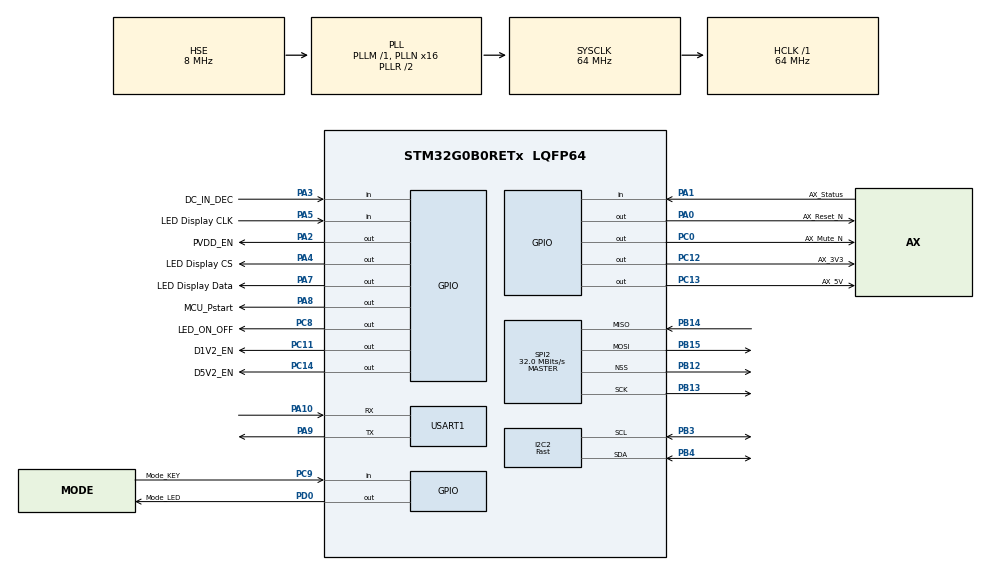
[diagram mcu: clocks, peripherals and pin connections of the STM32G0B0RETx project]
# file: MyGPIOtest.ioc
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I2C2.CustomTiming=Enabled
I2C2.I2C_Speed_Mode=I2C_Fast
I2C2.Timing=0x00503D58
Mcu.Family=STM32G0
Mcu.Name=STM32G0B0RETx
Mcu.Package=LQFP64
PA0.GPIO_Label=AX_Reset_N
PA0.GPIO_ModeDefaultOutputPP=GPIO_MODE_OUTPUT_OD
PA0.GPIO_PuPd=GPIO_NOPULL
PA0.Signal=GPIO_Output
PA1.GPIO_Label=AX_Status
PA1.Signal=GPIO_Input
PA10.Mode=Asynchronous
PA10.Signal=USART1_RX
PA13.Mode=Serial_Wire
PA13.Signal=SYS_SWDIO
PA14-BOOT0.Mode=Serial_Wire
PA14-BOOT0.Signal=SYS_SWCLK
PA2.GPIO_Label=PVDD_EN
PA2.Signal=GPIO_Output
PA3.GPIO_Label=DC_IN_DEC
PA3.Signal=GPIO_Input
PA4.GPIO_Label=LED Display CS
PA4.Signal=GPIO_Output
PA5.GPIO_Label=LED Display CLK
PA5.Signal=GPIO_Input
PA7.GPIO_Label=LED Display Data
PA7.Signal=GPIO_Output
PA8.GPIO_Label=MCU_Pstart
PA8.Signal=GPIO_Output
PA9.Mode=Asynchronous
PA9.Signal=USART1_TX
PB12.Mode=NSS_Signal_Hard_Output
PB12.Signal=SPI2_NSS
PB13.Mode=Full_Duplex_Master
PB13.Signal=SPI2_SCK
PB14.Mode=Full_Duplex_Master
PB14.Signal=SPI2_MISO
PB15.Mode=Full_Duplex_Master
PB15.Signal=SPI2_MOSI
PB3.Mode=I2C
PB3.Signal=I2C2_SCL
PB4.Mode=I2C
PB4.Signal=I2C2_SDA
PC0.GPIO_Label=AX_Mute_N
PC0.Signal=GPIO_Output
PC11.GPIO_Label=D1V2_EN
PC11.Signal=GPIO_Output
PC12.GPIO_Label=AX_3V3
PC12.Signal=GPIO_Output
PC13.GPIO_Label=AX_5V
PC13.Signal=GPIO_Output
PC14-OSC32_IN\ (PC14).GPIO_Label=D5V2_EN
PC14-OSC32_IN\ (PC14).Signal=GPIO_Output
PC8.GPIO_Label=LED_ON_OFF
PC8.Signal=GPIO_Output
PC9.GPIO_Label=Mode_KEY
PC9.Signal=GPIO_Input
PD0.GPIO_Label=Mode_LED
PD0.Signal=GPIO_Output
PF0-OSC_IN\ (PF0).Mode=HSE-External-Oscillator
PF0-OSC_IN\ (PF0).Signal=RCC_OSC_IN
PF1-OSC_OUT\ (PF1).Mode=HSE-External-Oscillator
PF1-OSC_OUT\ (PF1).Signal=RCC_OSC_OUT
ProjectManager.HeapSize=0x200
ProjectManager.StackSize=0x400
ProjectManager.TargetToolchain=STM32CubeIDE
RCC.ADCFreq_Value=64000000
RCC.AHBFreq_Value=64000000
RCC.CortexFreq_Value=64000000
RCC.EXTERNAL_CLOCK_VALUE=48000
RCC.HCLKFreq_Value=64000000
RCC.HSE_VALUE=8000000
RCC.HSI_VALUE=16000000
RCC.LSE_VALUE=32768
RCC.PLLN=16
RCC.PLLSourceVirtual=RCC_PLLSOURCE_HSE
RCC.SYSCLKFreq_VALUE=64000000
RCC.SYSCLKSource=RCC_SYSCLKSOURCE_PLLCLK
RCC.USBFreq_Value=64000000
RCC.VCOOutputFreq_Value=128000000
SPI2.CalculateBaudRate=32.0 MBits/s
SPI2.Direction=SPI_DIRECTION_2LINES
SPI2.Mode=SPI_MODE_MASTER
SPI2.VirtualNSS=VM_NSSHARD
SPI2.VirtualType=VM_MASTER
USART1.VirtualMode-Asynchronous=VM_ASYNC
VP_SYS_VS_DBSignals.Mode=DisableDeadBatterySignals
board=custom

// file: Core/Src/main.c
/* USER CODE BEGIN Header */
/**
  ******************************************************************************
  * @file           : main.c
  * @brief          : Main program body for AX5689 Control.
  ******************************************************************************
  */
/* USER CODE END Header */
#include "main.h"

/* USER CODE BEGIN Includes */
#include <stdio.h>
#include "ax5689_control.h"
/* USER CODE END Includes */

I2C_HandleTypeDef hi2c2;

SPI_HandleTypeDef hspi2;

UART_HandleTypeDef huart1;

/* USER CODE BEGIN PV */
volatile HAL_StatusTypeDef i2c_status = HAL_OK;
/* USER CODE END PV */

void SystemClock_Config(void);
static void MX_GPIO_Init(void);
static void MX_I2C2_Init(void);
static void MX_SPI2_Init(void);
static void MX_USART1_UART_Init(void);
/* USER CODE BEGIN PFP */
#ifdef __GNUC__
  #define PUTCHAR_PROTOTYPE int __io_putchar(int ch)
#else
  #define PUTCHAR_PROTOTYPE int fputc(int ch, FILE *f)
#endif /* __GNUC__ */
/* USER CODE END PFP */

int main(void)
{

  /* MCU Configuration--------------------------------------------------------*/

  /* Reset of all peripherals, Initializes the Flash interface and the Systick. */
  HAL_Init();

  /* Configure the system clock */
  SystemClock_Config();

  /* Initialize all configured peripherals */
  MX_GPIO_Init();
  MX_I2C2_Init();
  MX_SPI2_Init();
  MX_USART1_UART_Init();
  IO_Init();
  AX5689_Setup();
  // 启动控制循环
  StartControlLoop();
  while (1)
  {
    checkStatusRegister();
    HAL_Delay(50); // 轮询间隔
    if (HAL_GPIO_ReadPin(DC_IN_DEC_GPIO_Port, DC_IN_DEC_Pin) == GPIO_PIN_RESET)
    {
        StopControlLoop();
        printf("DC input can not detected. Stopping control loop.\r\n");
        // 检测到Power Stage 输入，停止控制循环
    }
    HAL_Delay(50); // 轮询间隔
  }
  /* USER CODE END 3 */
}

void SystemClock_Config(void)
{
  RCC_OscInitTypeDef RCC_OscInitStruct = {0};
  RCC_ClkInitTypeDef RCC_ClkInitStruct = {0};

  /** Configure the main internal regulator output voltage
  */
  HAL_PWREx_ControlVoltageScaling(PWR_REGULATOR_VOLTAGE_SCALE1);

  /** Initializes the RCC Oscillators according to the specified parameters
  * in the RCC_OscInitTypeDef structure.
  */
  RCC_OscInitStruct.OscillatorType = RCC_OSCILLATORTYPE_HSE;
  RCC_OscInitStruct.HSEState = RCC_HSE_ON;
  RCC_OscInitStruct.PLL.PLLState = RCC_PLL_ON;
  RCC_OscInitStruct.PLL.PLLSource = RCC_PLLSOURCE_HSE;
  RCC_OscInitStruct.PLL.PLLM = RCC_PLLM_DIV1;
  RCC_OscInitStruct.PLL.PLLN = 16;
  RCC_OscInitStruct.PLL.PLLP = RCC_PLLP_DIV2;
  RCC_OscInitStruct.PLL.PLLQ = RCC_PLLQ_DIV2;
  RCC_OscInitStruct.PLL.PLLR = RCC_PLLR_DIV2;
  if (HAL_RCC_OscConfig(&RCC_OscInitStruct) != HAL_OK)
  {
    Error_Handler();
  }

  /** Initializes the CPU, AHB and APB buses clocks
  */
  RCC_ClkInitStruct.ClockType = RCC_CLOCKTYPE_HCLK|RCC_CLOCKTYPE_SYSCLK
                              |RCC_CLOCKTYPE_PCLK1;
  RCC_ClkInitStruct.SYSCLKSource = RCC_SYSCLKSOURCE_PLLCLK;
  RCC_ClkInitStruct.AHBCLKDivider = RCC_SYSCLK_DIV1;
  RCC_ClkInitStruct.APB1CLKDivider = RCC_HCLK_DIV1;

  if (HAL_RCC_ClockConfig(&RCC_ClkInitStruct, FLASH_LATENCY_2) != HAL_OK)
  {
    Error_Handler();
  }
}

static void MX_I2C2_Init(void)
{

  hi2c2.Instance = I2C2;
  hi2c2.Init.Timing = 0x00503D58;
  hi2c2.Init.OwnAddress1 = 0;
  hi2c2.Init.AddressingMode = I2C_ADDRESSINGMODE_7BIT;
  hi2c2.Init.DualAddressMode = I2C_DUALADDRESS_DISABLE;
  hi2c2.Init.OwnAddress2 = 0;
  hi2c2.Init.OwnAddress2Masks = I2C_OA2_NOMASK;
  hi2c2.Init.GeneralCallMode = I2C_GENERALCALL_DISABLE;
  hi2c2.Init.NoStretchMode = I2C_NOSTRETCH_DISABLE;
  if (HAL_I2C_Init(&hi2c2) != HAL_OK)
  {
    Error_Handler();
  }

  /** Configure Analogue filter
  */
  if (HAL_I2CEx_ConfigAnalogFilter(&hi2c2, I2C_ANALOGFILTER_ENABLE) != HAL_OK)
  {
    Error_Handler();
  }

  /** Configure Digital filter
  */
  if (HAL_I2CEx_ConfigDigitalFilter(&hi2c2, 0) != HAL_OK)
  {
    Error_Handler();
  }

}

static void MX_SPI2_Init(void)
{

  /* SPI2 parameter configuration*/
  hspi2.Instance = SPI2;
  hspi2.Init.Mode = SPI_MODE_MASTER;
  hspi2.Init.Direction = SPI_DIRECTION_2LINES;
  hspi2.Init.DataSize = SPI_DATASIZE_4BIT;
  hspi2.Init.CLKPolarity = SPI_POLARITY_LOW;
  hspi2.Init.CLKPhase = SPI_PHASE_1EDGE;
  hspi2.Init.NSS = SPI_NSS_HARD_OUTPUT;
  hspi2.Init.BaudRatePrescaler = SPI_BAUDRATEPRESCALER_2;
  hspi2.Init.FirstBit = SPI_FIRSTBIT_MSB;
  hspi2.Init.TIMode = SPI_TIMODE_DISABLE;
  hspi2.Init.CRCCalculation = SPI_CRCCALCULATION_DISABLE;
  hspi2.Init.CRCPolynomial = 7;
  hspi2.Init.CRCLength = SPI_CRC_LENGTH_DATASIZE;
  hspi2.Init.NSSPMode = SPI_NSS_PULSE_ENABLE;
  if (HAL_SPI_Init(&hspi2) != HAL_OK)
  {
    Error_Handler();
  }

}

static void MX_USART1_UART_Init(void)
{

  huart1.Instance = USART1;
  huart1.Init.BaudRate = 115200;
  huart1.Init.WordLength = UART_WORDLENGTH_8B;
  huart1.Init.StopBits = UART_STOPBITS_1;
  huart1.Init.Parity = UART_PARITY_NONE;
  huart1.Init.Mode = UART_MODE_TX_RX;
  huart1.Init.HwFlowCtl = UART_HWCONTROL_NONE;
  huart1.Init.OverSampling = UART_OVERSAMPLING_16;
  huart1.Init.OneBitSampling = UART_ONE_BIT_SAMPLE_DISABLE;
  huart1.Init.ClockPrescaler = UART_PRESCALER_DIV1;
  huart1.AdvancedInit.AdvFeatureInit = UART_ADVFEATURE_NO_INIT;
  if (HAL_UART_Init(&huart1) != HAL_OK)
  {
    Error_Handler();
  }
  if (HAL_UARTEx_SetTxFifoThreshold(&huart1, UART_TXFIFO_THRESHOLD_1_8) != HAL_OK)
  {
    Error_Handler();
  }
  if (HAL_UARTEx_SetRxFifoThreshold(&huart1, UART_RXFIFO_THRESHOLD_1_8) != HAL_OK)
  {
    Error_Handler();
  }
  if (HAL_UARTEx_DisableFifoMode(&huart1) != HAL_OK)
  {
    Error_Handler();
  }

}

static void MX_GPIO_Init(void)
{
  GPIO_InitTypeDef GPIO_InitStruct = {0};

  /* GPIO Ports Clock Enable */
  __HAL_RCC_GPIOC_CLK_ENABLE();
  __HAL_RCC_GPIOF_CLK_ENABLE();
  __HAL_RCC_GPIOA_CLK_ENABLE();
  __HAL_RCC_GPIOB_CLK_ENABLE();
  __HAL_RCC_GPIOD_CLK_ENABLE();

  /*Configure GPIO pin Output Level */
  HAL_GPIO_WritePin(GPIOC, D1V2_EN_Pin|AX_3V3_Pin|AX_5V_Pin|D5V2_EN_Pin
                          |AX_Mute_N_Pin|LED_ON_OFF_Pin, GPIO_PIN_RESET);

  /*Configure GPIO pin Output Level */
  HAL_GPIO_WritePin(GPIOA, AX_Reset_N_Pin|PVDD_EN_Pin|LED_Display_CS_Pin|LED_Display_Data_Pin
                          |MCU_Pstart_Pin, GPIO_PIN_RESET);

  /*Configure GPIO pin Output Level */
  HAL_GPIO_WritePin(Mode_LED_GPIO_Port, Mode_LED_Pin, GPIO_PIN_RESET);

  /*Configure GPIO pins : D1V2_EN_Pin AX_3V3_Pin AX_5V_Pin D5V2_EN_Pin
                           AX_Mute_N_Pin LED_ON_OFF_Pin */
  GPIO_InitStruct.Pin = D1V2_EN_Pin|AX_3V3_Pin|AX_5V_Pin|D5V2_EN_Pin
                          |AX_Mute_N_Pin|LED_ON_OFF_Pin;
  GPIO_InitStruct.Mode = GPIO_MODE_OUTPUT_PP;
  GPIO_InitStruct.Pull = GPIO_NOPULL;
  GPIO_InitStruct.Speed = GPIO_SPEED_FREQ_LOW;
  HAL_GPIO_Init(GPIOC, &GPIO_InitStruct);

  /*Configure GPIO pin : AX_Reset_N_Pin */
  GPIO_InitStruct.Pin = AX_Reset_N_Pin;
  GPIO_InitStruct.Mode = GPIO_MODE_OUTPUT_OD;
  GPIO_InitStruct.Pull = GPIO_NOPULL;
  GPIO_InitStruct.Speed = GPIO_SPEED_FREQ_LOW;
  HAL_GPIO_Init(AX_Reset_N_GPIO_Port, &GPIO_InitStruct);

  /*Configure GPIO pins : AX_Status_Pin DC_IN_DEC_Pin LED_Display_CLK_Pin */
  GPIO_InitStruct.Pin = AX_Status_Pin|DC_IN_DEC_Pin|LED_Display_CLK_Pin;
  GPIO_InitStruct.Mode = GPIO_MODE_INPUT;
  GPIO_InitStruct.Pull = GPIO_NOPULL;
  HAL_GPIO_Init(GPIOA, &GPIO_InitStruct);

  /*Configure GPIO pins : PVDD_EN_Pin LED_Display_CS_Pin LED_Display_Data_Pin MCU_Pstart_Pin */
  GPIO_InitStruct.Pin = PVDD_EN_Pin|LED_Display_CS_Pin|LED_Display_Data_Pin|MCU_Pstart_Pin;
  GPIO_InitStruct.Mode = GPIO_MODE_OUTPUT_PP;
  GPIO_InitStruct.Pull = GPIO_NOPULL;
  GPIO_InitStruct.Speed = GPIO_SPEED_FREQ_LOW;
  HAL_GPIO_Init(GPIOA, &GPIO_InitStruct);

  /*Configure GPIO pin : Mode_KEY_Pin */
  GPIO_InitStruct.Pin = Mode_KEY_Pin;
  GPIO_InitStruct.Mode = GPIO_MODE_INPUT;
  GPIO_InitStruct.Pull = GPIO_NOPULL;
  HAL_GPIO_Init(Mode_KEY_GPIO_Port, &GPIO_InitStruct);

  /*Configure GPIO pin : Mode_LED_Pin */
  GPIO_InitStruct.Pin = Mode_LED_Pin;
  GPIO_InitStruct.Mode = GPIO_MODE_OUTPUT_PP;
  GPIO_InitStruct.Pull = GPIO_NOPULL;
  GPIO_InitStruct.Speed = GPIO_SPEED_FREQ_LOW;
  HAL_GPIO_Init(Mode_LED_GPIO_Port, &GPIO_InitStruct);

  /* USER CODE BEGIN MX_GPIO_Init_2 */

  GPIO_InitStruct.Pin = GPIO_PIN_8; // 选择要配置的引脚
  GPIO_InitStruct.Mode = GPIO_MODE_OUTPUT_PP; // 设置为推挽输出模式
  GPIO_InitStruct.Pull = GPIO_NOPULL; // 推挽模式下不需要内部上下拉
  GPIO_InitStruct.Speed = GPIO_SPEED_FREQ_LOW; // 设置为低速，因为我们只是输出一个静态电平
  HAL_GPIO_Init(GPIOC, &GPIO_InitStruct); // 应用以上配置到GPIOC端口
  /* USER CODE END MX_GPIO_Init_2 */
}

/* USER CODE BEGIN 4 */

/* 在文件末尾，Error_Handler函数之前，添加printf的重定向实现 */
/* USER CODE BEGIN 4 */
/**
  * @brief  Retargets the C library printf function to the USART.
  */
PUTCHAR_PROTOTYPE
{
  HAL_UART_Transmit(&huart1, (uint8_t *)&ch, 1, HAL_MAX_DELAY);
  return ch;
}
/* USER CODE END 4 */

void Error_Handler(void)
{
  __disable_irq();
  while (1)
  {
  }
}
